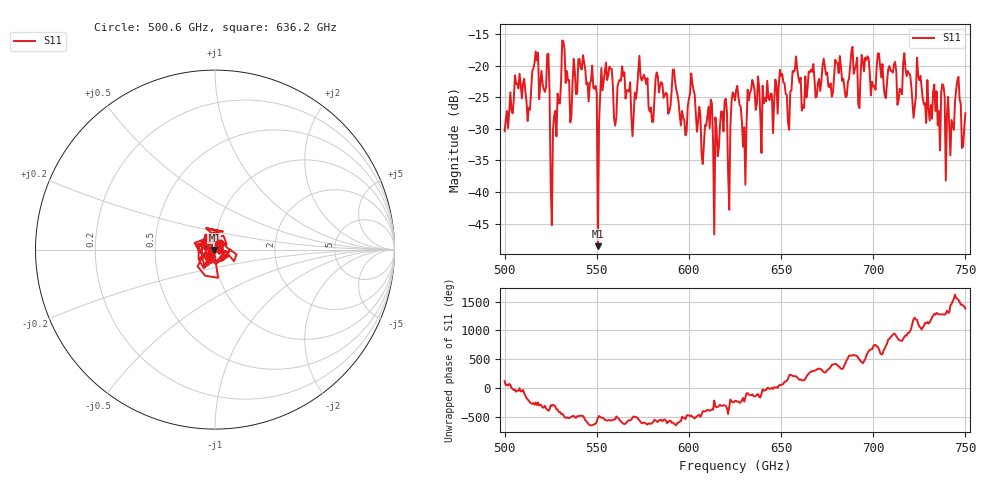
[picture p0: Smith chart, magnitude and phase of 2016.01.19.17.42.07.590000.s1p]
!Created with skrf (http://scikit-rf.org).
# GHz S RI R 50.0
!freq ReS11 ImS11
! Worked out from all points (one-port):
!   401 points, 500 GHz to 750 GHz, reference 50 ohm
!   lowest |S11| = -48.5 dB at 550.6 GHz (marker M1), VSWR 1.01, Z = 49.7 - j0.155 ohm
!   |S11| at or under -10 dB: start of sweep to end of sweep
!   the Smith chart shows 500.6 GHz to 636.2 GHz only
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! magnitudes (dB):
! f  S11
! 500 GHz  -30.4
! 506.9 GHz  -22.8
! 513.1 GHz  -26.7
! 516.9 GHz  -17.8
! 523.1 GHz  -18.2
! 526.2 GHz  -30.1
! 531.2 GHz  -16.0
! 548.1 GHz  -23.5
! 550.6 GHz  -48.5
! 553.8 GHz  -22.4
! 560 GHz  -29.5
! 562.5 GHz  -22.2
! 570 GHz  -28.0
! 593.8 GHz  -24.5
! 597.5 GHz  -28.7
! 601.9 GHz  -22.9
! 608.1 GHz  -32.6
! 611.2 GHz  -29.9
! 615 GHz  -30.1
! 618.8 GHz  -30.4
! 622.5 GHz  -29.6
! 625 GHz  -25.5
! 630 GHz  -29.8
! 634.4 GHz  -22.3
! 656.2 GHz  -20.9
! 687.5 GHz  -20.1
! 718.8 GHz  -20.9
! 750 GHz  -27.5
